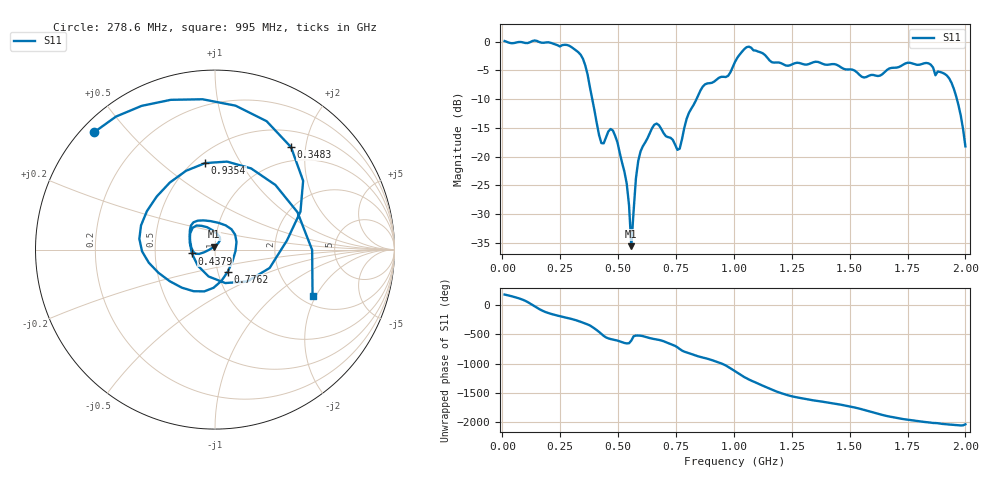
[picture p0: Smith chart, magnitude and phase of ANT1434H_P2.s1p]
!Created with skrf (http://scikit-rf.org).
# Hz S RI R 50.0
!freq ReS11 ImS11
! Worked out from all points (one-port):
!   201 points, 10 MHz to 2 GHz, reference 50 ohm
!   lowest |S11| = -35.6 dB at 557.2 MHz (marker M1), VSWR 1.03, Z = 49.4 + j1.54 ohm
!   |S11| at or under -10 dB: 388.8 MHz to 838.6 MHz (449.8 MHz wide, 73.3 % of centre); 1.963 GHz to end of sweep
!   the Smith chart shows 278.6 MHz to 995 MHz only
!   S11 on the Smith chart (normalised r, x): 278.6 MHz: 0.04, +0.41; 348.3 MHz: 0.75, +1.73; 437.9 MHz: 0.77, -0.03; 776.1 MHz: 1.12, -0.28; 935.4 MHz: 0.57, +0.72; 995 MHz: 2.33, -1.87
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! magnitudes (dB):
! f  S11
! 10 MHz  0.1
! 258.8 MHz  -0.6
! 278.6 MHz  -0.6
! 348.3 MHz  -3.0
! 417.9 MHz  -16.3
! 437.9 MHz  -17.7
! 467.7 MHz  -15.2
! 507.5 MHz  -19.4
! 537.4 MHz  -24.7
! 547.3 MHz  -28.4
! 557.2 MHz  -35.6
! 577.1 MHz  -23.8
! 607 MHz  -18.2
! 666.7 MHz  -14.3
! 756.2 MHz  -18.8
! 776.1 MHz  -16.9
! 865.7 MHz  -7.8
! 935.4 MHz  -6.3
! 995 MHz  -4.4
! 1.005 GHz  -3.5
! 1.065 GHz  -0.9
! 1.254 GHz  -3.9
! 1.502 GHz  -4.8
! 1.622 GHz  -6.0
! 1.751 GHz  -3.7
! 1.93 GHz  -6.4
! 1.97 GHz  -11.1
! 2 GHz  -18.2
